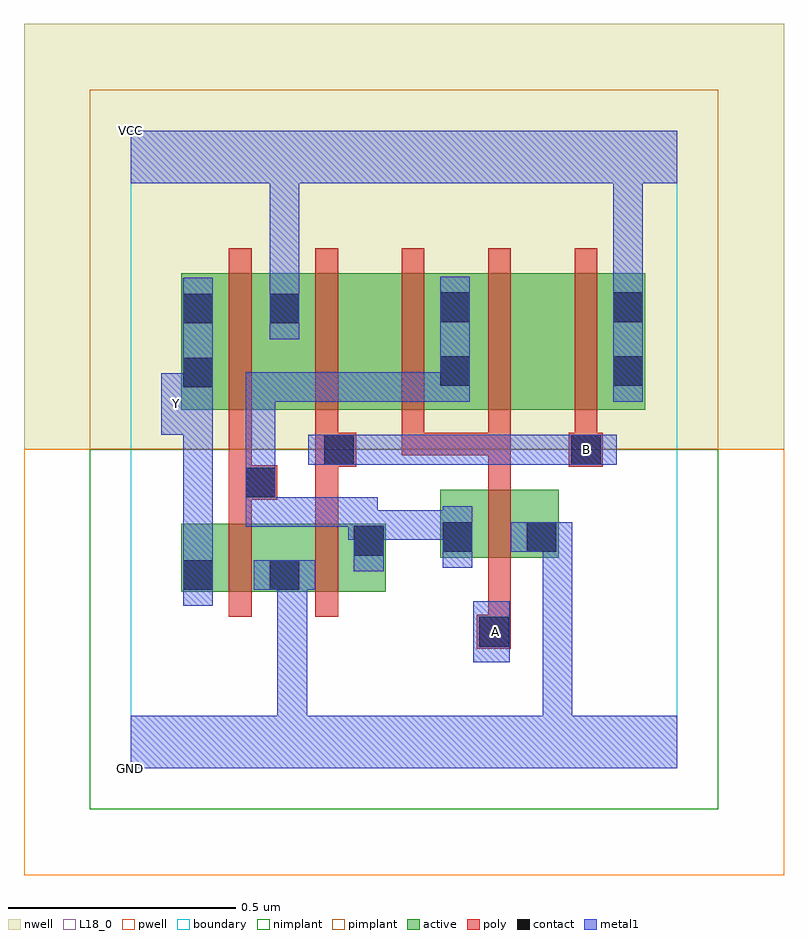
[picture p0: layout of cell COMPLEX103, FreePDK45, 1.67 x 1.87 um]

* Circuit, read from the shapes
.subckt COMPLEX103 A B GND VCC Y
M1 GND n1 Y VSUBS nfet w=0.15u l=0.05u
M2 n1 B GND VSUBS nfet w=0.15u l=0.05u
M3 GND A n1 VSUBS nfet w=0.15u l=0.05u
M4 VCC n1 Y n2 pfet w=0.3u l=0.05u
M5 n3 B VCC n2 pfet w=0.3u l=0.05u
M6 n1 A n3 n2 pfet w=0.3u l=0.05u
M7 n4 A n1 n2 pfet w=0.3u l=0.05u
M8 VCC B n4 n2 pfet w=0.3u l=0.05u
.ends

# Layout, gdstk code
import gdstk
lib = gdstk.Library(unit=1e-6, precision=1e-09)
def R(c, l, rs):  # rectangles x0, y0, x1, y1
    for r in rs: c.add(gdstk.rectangle(r[:2], r[2:], *l))
def A(c, l, x, y, w, h, nx, ny, dx, dy):  # array of equal rectangles
    R(c, l, [(x+i*dx, y+j*dy, x+i*dx+w, y+j*dy+h) for i in range(nx) for j in range(ny)])
active = (1, 0)
pwell = (2, 0)
nwell = (3, 0)
nimplant = (4, 0)
pimplant = (5, 0)
poly = (9, 0)
contact = (10, 0)
metal1 = (11, 0)
L18_0 = (18, 0)
boundary = (235, 0)

complex103 = lib.new_cell('COMPLEX103')
R(complex103, active, [(0.11,0.387,0.185,0.537), (0.11,0.387,0.375,0.537), (0.3,0.387,0.56,0.537), (0.3,0.387,0.375,0.462), (0.485,0.387,0.56,0.537), (0.68,0.462,0.755,0.612), (0.68,0.462,0.94,0.612), (0.865,0.462,0.94,0.612), (0.11,0.787,0.185,1.087), (0.11,0.787,0.375,1.087), (0.3,0.787,0.375,1.087), (0.3,0.787,0.525,1.087), (0.525,0.787,0.75,1.087), (0.675,0.787,0.905,1.087), (0.905,0.787,1.13,1.087), (1.055,0.787,1.13,1.087), (0.675,0.835,0.75,1.087)])
R(complex103, pwell, [(-0.235,-0.235,1.435,0.7)])
R(complex103, nwell, [(-0.235,0.7,1.435,1.635)])
R(complex103, nimplant, [(-0.09,-0.09,1.29,0.7)])
R(complex103, pimplant, [(-0.09,0.7,1.29,1.49)])
A(complex103, poly, 0.405, 0.687, 0.05, 0.095, 4, 1, 0.19, 0)
A(complex103, poly, 0.215, 0.732, 0.05, 0.41, 5, 1, 0.19, 0)
R(complex103, poly, [(0.76,0.262,0.835,0.337), (0.785,0.287,0.835,0.457), (0.215,0.332,0.265,0.592), (0.405,0.332,0.455,0.592), (0.785,0.407,0.835,0.667), (0.215,0.542,0.265,0.64), (0.405,0.542,0.455,0.712), (0.215,0.59,0.322,0.665), (0.215,0.615,0.265,0.782), (0.785,0.617,0.835,0.737), (0.405,0.662,0.495,0.737), (0.962,0.662,1.037,0.737), (0.595,0.687,0.645,0.737), (0.595,0.687,0.835,0.737), (0.785,0.687,0.835,0.737), (0.785,0.687,0.835,0.737), (0.785,0.687,0.835,0.737)])
R(complex103, contact, [(0.765,0.267,0.83,0.332), (0.115,0.392,0.18,0.457), (0.305,0.392,0.37,0.457), (0.49,0.467,0.555,0.532), (0.685,0.475,0.75,0.54), (0.87,0.475,0.935,0.54), (0.252,0.595,0.317,0.66), (0.425,0.667,0.49,0.732), (0.967,0.667,1.032,0.732), (0.115,0.837,0.18,0.902), (0.68,0.84,0.745,0.905), (1.06,0.84,1.125,0.905), (0.115,0.977,0.18,1.042), (0.305,0.977,0.37,1.042), (0.68,0.98,0.745,1.045), (1.06,0.98,1.125,1.045)])
R(complex103, metal1, [(0,0,1.2,0.115), (0.322,0.05,0.387,0.457), (0.905,0.05,0.97,0.54), (0.752,0.232,0.832,0.367), (0.115,0.357,0.18,0.492), (0.27,0.392,0.405,0.457), (0.322,0.392,0.387,0.457), (0.322,0.392,0.387,0.457), (0.322,0.392,0.387,0.457), (0.322,0.392,0.387,0.457), (0.322,0.392,0.387,0.457), (0.322,0.392,0.387,0.457), (0.115,0.427,0.18,0.797), (0.49,0.432,0.555,0.567), (0.685,0.44,0.75,0.575), (0.835,0.475,0.97,0.54), (0.905,0.475,0.97,0.54), (0.905,0.475,0.97,0.54), (0.905,0.475,0.97,0.54), (0.905,0.475,0.97,0.54), (0.905,0.475,0.97,0.54), (0.905,0.475,0.97,0.54), (0.477,0.502,0.555,0.567), (0.477,0.502,0.542,0.595), (0.49,0.502,0.68,0.567), (0.615,0.502,0.68,0.567), (0.615,0.502,0.75,0.567), (0.252,0.53,0.317,0.595), (0.252,0.53,0.317,0.595), (0.252,0.53,0.542,0.595), (0.252,0.53,0.317,0.625), (0.252,0.56,0.317,0.625), (0.252,0.56,0.317,0.695), (0.252,0.56,0.317,0.87), (0.39,0.667,0.525,0.732), (0.46,0.667,0.525,0.732), (0.46,0.667,0.525,0.732), (0.46,0.667,0.68,0.732), (0.615,0.667,0.68,0.732), (0.615,0.667,0.692,0.732), (0.627,0.667,0.692,0.732), (0.627,0.667,0.83,0.732), (0.765,0.667,0.83,0.732), (0.765,0.667,0.83,0.732), (0.765,0.667,0.83,0.732), (0.765,0.667,0.997,0.732), (0.932,0.667,1.067,0.732), (0.067,0.732,0.18,0.867), (0.115,0.802,0.18,0.867), (0.115,0.802,0.18,1.077), (0.252,0.805,0.317,0.87), (0.252,0.805,0.455,0.87), (0.39,0.805,0.455,0.87), (0.39,0.805,0.455,0.87), (0.39,0.805,0.455,0.87), (0.39,0.805,0.68,0.87), (0.615,0.805,0.68,0.87), (0.615,0.805,0.745,0.87), (0.68,0.805,0.745,1.08), (1.06,0.805,1.125,1.08), (0.305,0.942,0.37,1.077), (0.305,1.012,0.37,1.077), (0.305,1.012,0.37,1.077), (0.305,1.012,0.37,1.35), (1.06,1.015,1.125,1.08), (1.06,1.015,1.125,1.08), (1.06,1.015,1.125,1.35), (0,1.285,1.2,1.4)])
R(complex103, L18_0, [(0,0,1.2,0.115), (0.322,0.05,0.387,0.457), (0.905,0.05,0.97,0.54), (0.752,0.232,0.832,0.367), (0.767,0.267,0.832,0.332), (0.115,0.357,0.18,0.492), (0.27,0.392,0.405,0.457), (0.322,0.392,0.387,0.457), (0.322,0.392,0.387,0.457), (0.322,0.392,0.387,0.457), (0.322,0.392,0.387,0.457), (0.322,0.392,0.387,0.457), (0.322,0.392,0.387,0.457), (0.115,0.427,0.18,0.797), (0.835,0.475,0.97,0.54), (0.905,0.475,0.97,0.54), (0.905,0.475,0.97,0.54), (0.905,0.475,0.97,0.54), (0.905,0.475,0.97,0.54), (0.905,0.475,0.97,0.54), (0.905,0.475,0.97,0.54), (0.39,0.667,0.525,0.732), (0.46,0.667,0.525,0.732), (0.46,0.667,0.525,0.732), (0.46,0.667,0.68,0.732), (0.615,0.667,0.68,0.732), (0.615,0.667,0.692,0.732), (0.627,0.667,0.692,0.732), (0.627,0.667,0.83,0.732), (0.765,0.667,0.83,0.732), (0.765,0.667,0.83,0.732), (0.765,0.667,0.83,0.732), (0.765,0.667,0.997,0.732), (0.932,0.667,1.067,0.732), (0.967,0.667,1.032,0.732), (0.067,0.732,0.18,0.867), (0.067,0.767,0.132,0.832), (0.115,0.802,0.18,1.077), (0.115,0.802,0.18,0.867), (1.06,0.805,1.125,1.08), (0.305,0.942,0.37,1.077), (0.305,1.012,0.37,1.077), (0.305,1.012,0.37,1.077), (0.305,1.012,0.37,1.35), (1.06,1.015,1.125,1.08), (1.06,1.015,1.125,1.08), (1.06,1.015,1.125,1.35), (0,1.285,1.2,1.4)])
R(complex103, boundary, [(0,0,1.2,1.4)])
complex103.add(gdstk.Label('A', (0.8,0.3), layer=11, texttype=0))
complex103.add(gdstk.Label('B', (1,0.7), layer=11, texttype=0))
complex103.add(gdstk.Label('Y', (0.1,0.8), layer=11, texttype=0))
complex103.add(gdstk.Label('VCC', (0,1.4), layer=11, texttype=0))
complex103.add(gdstk.Label('GND', (0,0), layer=11, texttype=0))

lib.write_gds('COMPLEX103.gds')
